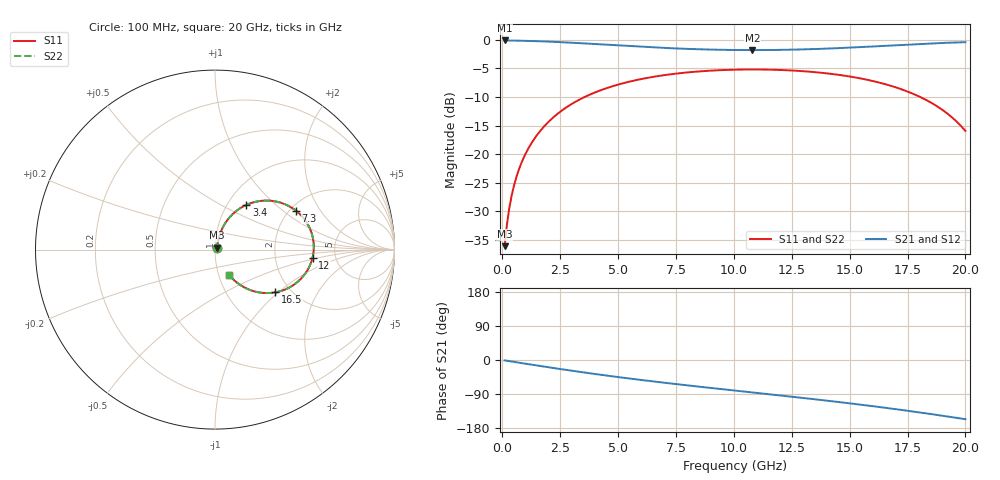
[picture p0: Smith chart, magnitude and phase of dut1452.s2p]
! Touchstone file exported from HFSS 2026.1.0
!  File:  C:/ffzhzh/LocalFiles/Ansys_Project_Files/temp_train_TSV_RDL_1452_1783359008_4416.aedt
!  Generated:  01:39:39 AM Jul  7, 2026
!  Design:  TSV_RDL
!  Project:  temp_train_TSV_RDL_1452_1783359008_4416
! Variables:
!  h_bsmrdl = 4.96um
!  h_ox = 20um
!  h_rdl = 5um
!  h_sub = 60.84um
!  h_tmrdl = 4.2um
!  h_tsv = 60.84um
!  h_via = 3um
!  l_bsmrdl = 113.03um
!  l_sub = 2762.23um
!  l_tmrdl = 474.42um
!  m_sub = 200um
!  pitch = 49.99um
!  r_tsv = 8.82um
!  s_tmrdl = 10um
!  w_bsmrdl = 24.4um
!  w_sub = 500um
!  w_tmrdl = 17.42um
!  x_tsv_center1 = 483.13um
!  x_tsv_center2 = 620.56um
!  x_tsv_center3 = 1112.4um
!  x_tsv_center4 = 1249.83um
!  x_tsv_center5 = 1741.67um
!  x_tsv_center6 = 1879.1um
# GHz S MA R 50.000000
! Terminal data exported
! Port[1] = TM_RDL1_1_T1
! Port[2] = TM_RDL5_1_T1
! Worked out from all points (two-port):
!   200 points, 100 MHz to 20 GHz, reference 50 ohm
!   highest |S21| = -0.10 dB at 100 MHz (marker M1); lowest = -1.8 dB at 10.8 GHz (marker M2)
!   |S21| within 3 dB of the highest: start of sweep to end of sweep
!   lowest |S11| = -36.1 dB at 100 MHz (marker M3), VSWR 1.03, Z = 51.2 + j1.06 ohm
!   |S11| at or under -10 dB: start of sweep to 3.561 GHz; 18.05 GHz to end of sweep
!   |S22| runs from -36.1 to -5.2 dB; largest |S21 - S12| = 6.1e-14
!   S11 on the Smith chart (normalised r, x): 100 MHz: 1.02, +0.02; 3.4 GHz: 1.22, +0.67; 7.3 GHz: 2.15, +1.25; 12 GHz: 3.34, -0.42; 16.5 GHz: 1.67, -0.96; 20 GHz: 1.12, -0.32
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0.1  0.0156 41.6  0.9885 -1.0  0.9885 -1.0  0.0156 41.6
! Gamma 0 0 0 0
! Port Impedance 50 0 50 0
0.2  0.02405 58.4  0.9879 -2.0  0.9879 -2.0  0.02405 58.4
0.3  0.03339 65.4  0.9872 -3.0  0.9872 -3.0  0.03339 65.4
0.5  0.05243 70.6  0.9856 -5.0  0.9856 -5.0  0.05243 70.6
0.8  0.08104 72.4  0.9829 -7.9  0.9829 -7.9  0.08104 72.4
1.1  0.1095 71.8  0.9797 -10.7  0.9797 -10.7  0.1095 71.8
1.6  0.1559 69.0  0.9727 -15.5  0.9727 -15.5  0.1559 69.0
2.1  0.2006 65.4  0.9639 -20.2  0.9639 -20.2  0.2006 65.4
3.4  0.3047 54.9  0.9348 -31.8  0.9348 -31.8  0.3047 54.9
3.5  0.3119 54.1  0.9323 -32.7  0.9323 -32.7  0.3119 54.1
5.1  0.4111 41.5  0.8919 -45.8  0.8919 -45.8  0.4111 41.5
6.8  0.4845 29.1  0.8541 -58.6  0.8541 -58.6  0.4846 29.1
7.3  0.5005 25.7  0.845 -62.1  0.845 -62.1  0.5005 25.7
10.1  0.5488 7.4  0.8152 -81.0  0.8152 -81.0  0.5488 7.4
10.8  0.5508 2.9  0.8139 -85.6  0.8139 -85.6  0.5508 2.9
12  0.5453 -4.7  0.8173 -93.5  0.8173 -93.5  0.5453 -4.7
13.4  0.5239 -13.8  0.8302 -103.0  0.8302 -103.0  0.5239 -13.8
16.5  0.4113 -35.4  0.8863 -125.8  0.8863 -125.8  0.4113 -35.4
16.7  0.4005 -36.9  0.8908 -127.4  0.8908 -127.4  0.4005 -36.9
18.6  0.2756 -51.3  0.932 -143.4  0.932 -143.4  0.2756 -51.3
19.4  0.2114 -57.1  0.9463 -150.6  0.9463 -150.6  0.2114 -57.1
20  0.1596 -60.9  0.9548 -156.2  0.9548 -156.2  0.1596 -60.9
